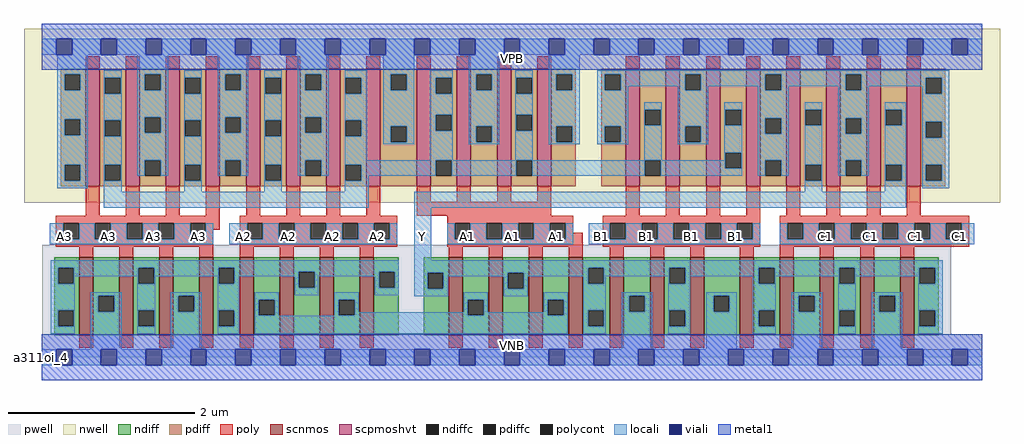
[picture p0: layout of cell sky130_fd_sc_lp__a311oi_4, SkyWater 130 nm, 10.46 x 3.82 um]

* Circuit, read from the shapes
.subckt sky130_fd_sc_lp__a311oi_4 A1 A2 A3 B1 C1 VGND VNB VPB VPWR Y
XM1 VGND A3 n1 VNB sky130_fd_pr__nfet_01v8 w=0.84 l=0.15 m=4
XM2 n2 A2 n1 VNB sky130_fd_pr__nfet_01v8 w=0.84 l=0.15 m=4
XM3 n2 A1 Y VNB sky130_fd_pr__nfet_01v8 w=0.84 l=0.15 m=4
XM4 VGND B1 Y VNB sky130_fd_pr__nfet_01v8 w=0.84 l=0.15 m=4
XM5 VGND C1 Y VNB sky130_fd_pr__nfet_01v8 w=0.84 l=0.15 m=4
XM6 n3 A3 VPWR VPB sky130_fd_pr__pfet_01v8_hvt w=1.26 l=0.15 m=4
XM7 n3 A2 VPWR VPB sky130_fd_pr__pfet_01v8_hvt w=1.26 l=0.15 m=4
XM8 n3 A1 VPWR VPB sky130_fd_pr__pfet_01v8_hvt w=1.26 l=0.15 m=4
XM9 n3 B1 n4 VPB sky130_fd_pr__pfet_01v8_hvt w=1.26 l=0.15 m=4
XM10 Y C1 n4 VPB sky130_fd_pr__pfet_01v8_hvt w=1.26 l=0.15 m=4
.ends

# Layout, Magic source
magic
tech sky130A
magscale 1 2
<< nwell >>
rect -38 331 2054 704
<< pwell >>
rect 1 49 1949 241
rect 0 0 2016 49
<< scnmos >>
rect 80 47 110 215
rect 166 47 196 215
rect 252 47 282 215
rect 338 47 368 215
rect 424 47 454 215
rect 510 47 540 215
rect 596 47 626 215
rect 682 47 712 215
rect 872 47 902 215
rect 958 47 988 215
rect 1044 47 1074 215
rect 1130 47 1160 215
rect 1218 47 1248 215
rect 1304 47 1334 215
rect 1390 47 1420 215
rect 1496 47 1526 215
rect 1582 47 1612 215
rect 1668 47 1698 215
rect 1754 47 1784 215
rect 1840 47 1870 215
<< scpmoshvt >>
rect 94 367 124 619
rect 180 367 210 619
rect 266 367 296 619
rect 352 367 382 619
rect 438 367 468 619
rect 524 367 554 619
rect 610 367 640 619
rect 696 367 726 619
rect 804 367 834 619
rect 890 367 920 619
rect 976 367 1006 619
rect 1062 367 1092 619
rect 1252 367 1282 619
rect 1338 367 1368 619
rect 1424 367 1454 619
rect 1510 367 1540 619
rect 1596 367 1626 619
rect 1682 367 1712 619
rect 1768 367 1798 619
rect 1854 367 1884 619
<< ndiff >>
rect 27 192 80 215
rect 27 158 35 192
rect 69 158 80 192
rect 27 101 80 158
rect 27 67 35 101
rect 69 67 80 101
rect 27 47 80 67
rect 110 132 166 215
rect 110 98 121 132
rect 155 98 166 132
rect 110 47 166 98
rect 196 192 252 215
rect 196 158 207 192
rect 241 158 252 192
rect 196 101 252 158
rect 196 67 207 101
rect 241 67 252 101
rect 196 47 252 67
rect 282 132 338 215
rect 282 98 293 132
rect 327 98 338 132
rect 282 47 338 98
rect 368 192 424 215
rect 368 158 379 192
rect 413 158 424 192
rect 368 101 424 158
rect 368 67 379 101
rect 413 67 424 101
rect 368 47 424 67
rect 454 124 510 215
rect 454 90 465 124
rect 499 90 510 124
rect 454 47 510 90
rect 540 183 596 215
rect 540 149 551 183
rect 585 149 596 183
rect 540 47 596 149
rect 626 124 682 215
rect 626 90 637 124
rect 671 90 682 124
rect 626 47 682 90
rect 712 183 765 215
rect 712 149 723 183
rect 757 149 765 183
rect 712 47 765 149
rect 819 181 872 215
rect 819 147 827 181
rect 861 147 872 181
rect 819 47 872 147
rect 902 124 958 215
rect 902 90 913 124
rect 947 90 958 124
rect 902 47 958 90
rect 988 181 1044 215
rect 988 147 999 181
rect 1033 147 1044 181
rect 988 47 1044 147
rect 1074 124 1130 215
rect 1074 90 1085 124
rect 1119 90 1130 124
rect 1074 47 1130 90
rect 1160 192 1218 215
rect 1160 158 1171 192
rect 1205 158 1218 192
rect 1160 101 1218 158
rect 1160 67 1171 101
rect 1205 67 1218 101
rect 1160 47 1218 67
rect 1248 132 1304 215
rect 1248 98 1259 132
rect 1293 98 1304 132
rect 1248 47 1304 98
rect 1334 192 1390 215
rect 1334 158 1345 192
rect 1379 158 1390 192
rect 1334 101 1390 158
rect 1334 67 1345 101
rect 1379 67 1390 101
rect 1334 47 1390 67
rect 1420 132 1496 215
rect 1420 98 1440 132
rect 1474 98 1496 132
rect 1420 47 1496 98
rect 1526 192 1582 215
rect 1526 158 1537 192
rect 1571 158 1582 192
rect 1526 101 1582 158
rect 1526 67 1537 101
rect 1571 67 1582 101
rect 1526 47 1582 67
rect 1612 132 1668 215
rect 1612 98 1623 132
rect 1657 98 1668 132
rect 1612 47 1668 98
rect 1698 192 1754 215
rect 1698 158 1709 192
rect 1743 158 1754 192
rect 1698 101 1754 158
rect 1698 67 1709 101
rect 1743 67 1754 101
rect 1698 47 1754 67
rect 1784 132 1840 215
rect 1784 98 1795 132
rect 1829 98 1840 132
rect 1784 47 1840 98
rect 1870 192 1923 215
rect 1870 158 1881 192
rect 1915 158 1923 192
rect 1870 101 1923 158
rect 1870 67 1881 101
rect 1915 67 1923 101
rect 1870 47 1923 67
<< pdiff >>
rect 41 607 94 619
rect 41 573 49 607
rect 83 573 94 607
rect 41 510 94 573
rect 41 476 49 510
rect 83 476 94 510
rect 41 413 94 476
rect 41 379 49 413
rect 83 379 94 413
rect 41 367 94 379
rect 124 599 180 619
rect 124 565 135 599
rect 169 565 180 599
rect 124 508 180 565
rect 124 474 135 508
rect 169 474 180 508
rect 124 413 180 474
rect 124 379 135 413
rect 169 379 180 413
rect 124 367 180 379
rect 210 607 266 619
rect 210 573 221 607
rect 255 573 266 607
rect 210 515 266 573
rect 210 481 221 515
rect 255 481 266 515
rect 210 423 266 481
rect 210 389 221 423
rect 255 389 266 423
rect 210 367 266 389
rect 296 599 352 619
rect 296 565 307 599
rect 341 565 352 599
rect 296 508 352 565
rect 296 474 307 508
rect 341 474 352 508
rect 296 413 352 474
rect 296 379 307 413
rect 341 379 352 413
rect 296 367 352 379
rect 382 607 438 619
rect 382 573 393 607
rect 427 573 438 607
rect 382 515 438 573
rect 382 481 393 515
rect 427 481 438 515
rect 382 423 438 481
rect 382 389 393 423
rect 427 389 438 423
rect 382 367 438 389
rect 468 599 524 619
rect 468 565 479 599
rect 513 565 524 599
rect 468 508 524 565
rect 468 474 479 508
rect 513 474 524 508
rect 468 413 524 474
rect 468 379 479 413
rect 513 379 524 413
rect 468 367 524 379
rect 554 607 610 619
rect 554 573 565 607
rect 599 573 610 607
rect 554 515 610 573
rect 554 481 565 515
rect 599 481 610 515
rect 554 423 610 481
rect 554 389 565 423
rect 599 389 610 423
rect 554 367 610 389
rect 640 599 696 619
rect 640 565 651 599
rect 685 565 696 599
rect 640 508 696 565
rect 640 474 651 508
rect 685 474 696 508
rect 640 413 696 474
rect 640 379 651 413
rect 685 379 696 413
rect 640 367 696 379
rect 726 607 804 619
rect 726 573 748 607
rect 782 573 804 607
rect 726 495 804 573
rect 726 461 748 495
rect 782 461 804 495
rect 726 367 804 461
rect 834 599 890 619
rect 834 565 845 599
rect 879 565 890 599
rect 834 520 890 565
rect 834 486 845 520
rect 879 486 890 520
rect 834 423 890 486
rect 834 389 845 423
rect 879 389 890 423
rect 834 367 890 389
rect 920 607 976 619
rect 920 573 931 607
rect 965 573 976 607
rect 920 495 976 573
rect 920 461 931 495
rect 965 461 976 495
rect 920 367 976 461
rect 1006 599 1062 619
rect 1006 565 1017 599
rect 1051 565 1062 599
rect 1006 520 1062 565
rect 1006 486 1017 520
rect 1051 486 1062 520
rect 1006 423 1062 486
rect 1006 389 1017 423
rect 1051 389 1062 423
rect 1006 367 1062 389
rect 1092 607 1145 619
rect 1092 573 1103 607
rect 1137 573 1145 607
rect 1092 495 1145 573
rect 1092 461 1103 495
rect 1137 461 1145 495
rect 1092 367 1145 461
rect 1199 607 1252 619
rect 1199 573 1207 607
rect 1241 573 1252 607
rect 1199 495 1252 573
rect 1199 461 1207 495
rect 1241 461 1252 495
rect 1199 367 1252 461
rect 1282 531 1338 619
rect 1282 497 1293 531
rect 1327 497 1338 531
rect 1282 423 1338 497
rect 1282 389 1293 423
rect 1327 389 1338 423
rect 1282 367 1338 389
rect 1368 607 1424 619
rect 1368 573 1379 607
rect 1413 573 1424 607
rect 1368 495 1424 573
rect 1368 461 1379 495
rect 1413 461 1424 495
rect 1368 367 1424 461
rect 1454 531 1510 619
rect 1454 497 1465 531
rect 1499 497 1510 531
rect 1454 439 1510 497
rect 1454 405 1465 439
rect 1499 405 1510 439
rect 1454 367 1510 405
rect 1540 607 1596 619
rect 1540 573 1551 607
rect 1585 573 1596 607
rect 1540 513 1596 573
rect 1540 479 1551 513
rect 1585 479 1596 513
rect 1540 423 1596 479
rect 1540 389 1551 423
rect 1585 389 1596 423
rect 1540 367 1596 389
rect 1626 531 1682 619
rect 1626 497 1637 531
rect 1671 497 1682 531
rect 1626 413 1682 497
rect 1626 379 1637 413
rect 1671 379 1682 413
rect 1626 367 1682 379
rect 1712 607 1768 619
rect 1712 573 1723 607
rect 1757 573 1768 607
rect 1712 513 1768 573
rect 1712 479 1723 513
rect 1757 479 1768 513
rect 1712 423 1768 479
rect 1712 389 1723 423
rect 1757 389 1768 423
rect 1712 367 1768 389
rect 1798 531 1854 619
rect 1798 497 1809 531
rect 1843 497 1854 531
rect 1798 413 1854 497
rect 1798 379 1809 413
rect 1843 379 1854 413
rect 1798 367 1854 379
rect 1884 599 1937 619
rect 1884 565 1895 599
rect 1929 565 1937 599
rect 1884 505 1937 565
rect 1884 471 1895 505
rect 1929 471 1937 505
rect 1884 413 1937 471
rect 1884 379 1895 413
rect 1929 379 1937 413
rect 1884 367 1937 379
<< ndiffc >>
rect 35 158 69 192
rect 35 67 69 101
rect 121 98 155 132
rect 207 158 241 192
rect 207 67 241 101
rect 293 98 327 132
rect 379 158 413 192
rect 379 67 413 101
rect 465 90 499 124
rect 551 149 585 183
rect 637 90 671 124
rect 723 149 757 183
rect 827 147 861 181
rect 913 90 947 124
rect 999 147 1033 181
rect 1085 90 1119 124
rect 1171 158 1205 192
rect 1171 67 1205 101
rect 1259 98 1293 132
rect 1345 158 1379 192
rect 1345 67 1379 101
rect 1440 98 1474 132
rect 1537 158 1571 192
rect 1537 67 1571 101
rect 1623 98 1657 132
rect 1709 158 1743 192
rect 1709 67 1743 101
rect 1795 98 1829 132
rect 1881 158 1915 192
rect 1881 67 1915 101
<< pdiffc >>
rect 49 573 83 607
rect 49 476 83 510
rect 49 379 83 413
rect 135 565 169 599
rect 135 474 169 508
rect 135 379 169 413
rect 221 573 255 607
rect 221 481 255 515
rect 221 389 255 423
rect 307 565 341 599
rect 307 474 341 508
rect 307 379 341 413
rect 393 573 427 607
rect 393 481 427 515
rect 393 389 427 423
rect 479 565 513 599
rect 479 474 513 508
rect 479 379 513 413
rect 565 573 599 607
rect 565 481 599 515
rect 565 389 599 423
rect 651 565 685 599
rect 651 474 685 508
rect 651 379 685 413
rect 748 573 782 607
rect 748 461 782 495
rect 845 565 879 599
rect 845 486 879 520
rect 845 389 879 423
rect 931 573 965 607
rect 931 461 965 495
rect 1017 565 1051 599
rect 1017 486 1051 520
rect 1017 389 1051 423
rect 1103 573 1137 607
rect 1103 461 1137 495
rect 1207 573 1241 607
rect 1207 461 1241 495
rect 1293 497 1327 531
rect 1293 389 1327 423
rect 1379 573 1413 607
rect 1379 461 1413 495
rect 1465 497 1499 531
rect 1465 405 1499 439
rect 1551 573 1585 607
rect 1551 479 1585 513
rect 1551 389 1585 423
rect 1637 497 1671 531
rect 1637 379 1671 413
rect 1723 573 1757 607
rect 1723 479 1757 513
rect 1723 389 1757 423
rect 1809 497 1843 531
rect 1809 379 1843 413
rect 1895 565 1929 599
rect 1895 471 1929 505
rect 1895 379 1929 413
<< poly >>
rect 94 619 124 645
rect 180 619 210 645
rect 266 619 296 645
rect 352 619 382 645
rect 438 619 468 645
rect 524 619 554 645
rect 610 619 640 645
rect 696 619 726 645
rect 804 619 834 645
rect 890 619 920 645
rect 976 619 1006 645
rect 1062 619 1092 645
rect 1252 619 1282 645
rect 1338 619 1368 645
rect 1424 619 1454 645
rect 1510 619 1540 645
rect 1596 619 1626 645
rect 1682 619 1712 645
rect 1768 619 1798 645
rect 1854 619 1884 645
rect 94 303 124 367
rect 180 303 210 367
rect 266 303 296 367
rect 352 303 382 367
rect 438 303 468 367
rect 524 303 554 367
rect 610 303 640 367
rect 696 303 726 367
rect 804 333 834 367
rect 890 333 920 367
rect 976 333 1006 367
rect 1062 333 1092 367
rect 804 303 1092 333
rect 1252 303 1282 367
rect 1338 303 1368 367
rect 1424 303 1454 367
rect 1510 303 1540 367
rect 1596 303 1626 367
rect 1682 303 1712 367
rect 1768 303 1798 367
rect 1854 303 1884 367
rect 30 287 382 303
rect 30 253 46 287
rect 80 253 114 287
rect 148 253 182 287
rect 216 253 250 287
rect 284 253 318 287
rect 352 273 382 287
rect 424 287 762 303
rect 352 253 368 273
rect 30 237 368 253
rect 80 215 110 237
rect 166 215 196 237
rect 252 215 282 237
rect 338 215 368 237
rect 424 253 440 287
rect 474 253 508 287
rect 542 253 576 287
rect 610 253 644 287
rect 678 253 712 287
rect 746 253 762 287
rect 424 237 762 253
rect 869 287 1139 303
rect 869 253 885 287
rect 919 253 953 287
rect 987 253 1021 287
rect 1055 253 1089 287
rect 1123 267 1139 287
rect 1202 287 1540 303
rect 1123 253 1160 267
rect 869 237 1160 253
rect 1202 253 1218 287
rect 1252 253 1286 287
rect 1320 253 1354 287
rect 1388 253 1422 287
rect 1456 253 1490 287
rect 1524 253 1540 287
rect 1202 237 1540 253
rect 1582 287 1988 303
rect 1582 253 1598 287
rect 1632 253 1666 287
rect 1700 253 1734 287
rect 1768 253 1802 287
rect 1836 253 1870 287
rect 1904 253 1938 287
rect 1972 253 1988 287
rect 1582 237 1988 253
rect 424 215 454 237
rect 510 215 540 237
rect 596 215 626 237
rect 682 215 712 237
rect 872 215 902 237
rect 958 215 988 237
rect 1044 215 1074 237
rect 1130 215 1160 237
rect 1218 215 1248 237
rect 1304 215 1334 237
rect 1390 215 1420 237
rect 1496 215 1526 237
rect 1582 215 1612 237
rect 1668 215 1698 237
rect 1754 215 1784 237
rect 1840 215 1870 237
rect 80 21 110 47
rect 166 21 196 47
rect 252 21 282 47
rect 338 21 368 47
rect 424 21 454 47
rect 510 21 540 47
rect 596 21 626 47
rect 682 21 712 47
rect 872 21 902 47
rect 958 21 988 47
rect 1044 21 1074 47
rect 1130 21 1160 47
rect 1218 21 1248 47
rect 1304 21 1334 47
rect 1390 21 1420 47
rect 1496 21 1526 47
rect 1582 21 1612 47
rect 1668 21 1698 47
rect 1754 21 1784 47
rect 1840 21 1870 47
<< polycont >>
rect 46 253 80 287
rect 114 253 148 287
rect 182 253 216 287
rect 250 253 284 287
rect 318 253 352 287
rect 440 253 474 287
rect 508 253 542 287
rect 576 253 610 287
rect 644 253 678 287
rect 712 253 746 287
rect 885 253 919 287
rect 953 253 987 287
rect 1021 253 1055 287
rect 1089 253 1123 287
rect 1218 253 1252 287
rect 1286 253 1320 287
rect 1354 253 1388 287
rect 1422 253 1456 287
rect 1490 253 1524 287
rect 1598 253 1632 287
rect 1666 253 1700 287
rect 1734 253 1768 287
rect 1802 253 1836 287
rect 1870 253 1904 287
rect 1938 253 1972 287
<< locali >>
rect 0 649 31 683
rect 65 649 127 683
rect 161 649 223 683
rect 257 649 319 683
rect 353 649 415 683
rect 449 649 511 683
rect 545 649 607 683
rect 641 649 703 683
rect 737 649 799 683
rect 833 649 895 683
rect 929 649 991 683
rect 1025 649 1087 683
rect 1121 649 1183 683
rect 1217 649 1279 683
rect 1313 649 1375 683
rect 1409 649 1471 683
rect 1505 649 1567 683
rect 1601 649 1663 683
rect 1697 649 1759 683
rect 1793 649 1855 683
rect 1889 649 1951 683
rect 1985 649 2016 683
rect 33 607 99 649
rect 33 573 49 607
rect 83 573 99 607
rect 33 510 99 573
rect 33 476 49 510
rect 83 476 99 510
rect 33 413 99 476
rect 33 379 49 413
rect 83 379 99 413
rect 33 363 99 379
rect 133 599 171 615
rect 133 565 135 599
rect 169 565 171 599
rect 133 508 171 565
rect 133 474 135 508
rect 169 474 171 508
rect 133 413 171 474
rect 133 379 135 413
rect 169 379 171 413
rect 205 607 271 649
rect 205 573 221 607
rect 255 573 271 607
rect 205 515 271 573
rect 205 481 221 515
rect 255 481 271 515
rect 205 423 271 481
rect 205 389 221 423
rect 255 389 271 423
rect 305 599 343 615
rect 305 565 307 599
rect 341 565 343 599
rect 305 508 343 565
rect 305 474 307 508
rect 341 474 343 508
rect 305 413 343 474
rect 133 355 171 379
rect 305 379 307 413
rect 341 379 343 413
rect 377 607 443 649
rect 377 573 393 607
rect 427 573 443 607
rect 377 515 443 573
rect 377 481 393 515
rect 427 481 443 515
rect 377 423 443 481
rect 377 389 393 423
rect 427 389 443 423
rect 477 599 515 615
rect 477 565 479 599
rect 513 565 515 599
rect 477 508 515 565
rect 477 474 479 508
rect 513 474 515 508
rect 477 413 515 474
rect 305 355 343 379
rect 477 379 479 413
rect 513 379 515 413
rect 549 607 615 649
rect 549 573 565 607
rect 599 573 615 607
rect 549 515 615 573
rect 549 481 565 515
rect 599 481 615 515
rect 549 423 615 481
rect 549 389 565 423
rect 599 389 615 423
rect 649 599 698 615
rect 649 565 651 599
rect 685 565 698 599
rect 649 508 698 565
rect 649 474 651 508
rect 685 474 698 508
rect 649 423 698 474
rect 732 607 798 649
rect 732 573 748 607
rect 782 573 798 607
rect 732 495 798 573
rect 732 461 748 495
rect 782 461 798 495
rect 732 457 798 461
rect 832 599 881 615
rect 832 565 845 599
rect 879 565 881 599
rect 832 520 881 565
rect 832 486 845 520
rect 879 486 881 520
rect 832 423 881 486
rect 915 607 981 649
rect 915 573 931 607
rect 965 573 981 607
rect 915 495 981 573
rect 915 461 931 495
rect 965 461 981 495
rect 915 457 981 461
rect 1015 599 1053 615
rect 1015 565 1017 599
rect 1051 565 1053 599
rect 1015 520 1053 565
rect 1015 486 1017 520
rect 1051 486 1053 520
rect 1015 423 1053 486
rect 1087 607 1153 649
rect 1087 573 1103 607
rect 1137 573 1153 607
rect 1087 495 1153 573
rect 1087 461 1103 495
rect 1137 461 1153 495
rect 1087 457 1153 461
rect 1191 607 1945 615
rect 1191 573 1207 607
rect 1241 581 1379 607
rect 1241 573 1257 581
rect 1191 495 1257 573
rect 1363 573 1379 581
rect 1413 581 1551 607
rect 1413 573 1429 581
rect 1191 461 1207 495
rect 1241 461 1257 495
rect 1191 457 1257 461
rect 1291 531 1329 547
rect 1291 497 1293 531
rect 1327 497 1329 531
rect 1291 423 1329 497
rect 1363 495 1429 573
rect 1535 573 1551 581
rect 1585 581 1723 607
rect 1585 573 1601 581
rect 1363 461 1379 495
rect 1413 461 1429 495
rect 1363 457 1429 461
rect 1463 531 1501 547
rect 1463 497 1465 531
rect 1499 497 1501 531
rect 1463 439 1501 497
rect 1463 423 1465 439
rect 649 413 845 423
rect 477 355 515 379
rect 649 379 651 413
rect 685 389 845 413
rect 879 389 1017 423
rect 1051 389 1293 423
rect 1327 405 1465 423
rect 1499 405 1501 439
rect 1327 389 1501 405
rect 1535 513 1601 573
rect 1707 573 1723 581
rect 1757 599 1945 607
rect 1757 581 1895 599
rect 1757 573 1773 581
rect 1535 479 1551 513
rect 1585 479 1601 513
rect 1535 423 1601 479
rect 1535 389 1551 423
rect 1585 389 1601 423
rect 1635 531 1673 547
rect 1635 497 1637 531
rect 1671 497 1673 531
rect 1635 413 1673 497
rect 685 379 701 389
rect 649 355 701 379
rect 1635 379 1637 413
rect 1671 379 1673 413
rect 1707 513 1773 573
rect 1887 565 1895 581
rect 1929 565 1945 599
rect 1707 479 1723 513
rect 1757 479 1773 513
rect 1707 423 1773 479
rect 1707 389 1723 423
rect 1757 389 1773 423
rect 1807 531 1853 547
rect 1807 497 1809 531
rect 1843 497 1853 531
rect 1807 413 1853 497
rect 1635 355 1673 379
rect 1807 379 1809 413
rect 1843 379 1853 413
rect 1807 355 1853 379
rect 1887 505 1945 565
rect 1887 471 1895 505
rect 1929 471 1945 505
rect 1887 413 1945 471
rect 1887 379 1895 413
rect 1929 379 1945 413
rect 1887 363 1945 379
rect 133 321 701 355
rect 799 321 1853 355
rect 17 253 46 287
rect 80 253 114 287
rect 148 253 182 287
rect 216 253 250 287
rect 284 253 318 287
rect 352 253 368 287
rect 17 242 368 253
rect 402 253 440 287
rect 474 253 508 287
rect 542 253 576 287
rect 610 253 644 287
rect 678 253 712 287
rect 746 253 762 287
rect 402 242 762 253
rect 799 208 835 321
rect 869 253 885 287
rect 919 253 953 287
rect 987 253 1021 287
rect 1055 253 1089 287
rect 1123 253 1139 287
rect 869 242 1139 253
rect 1173 253 1218 287
rect 1252 253 1286 287
rect 1320 253 1354 287
rect 1388 253 1422 287
rect 1456 253 1490 287
rect 1524 253 1540 287
rect 1173 242 1540 253
rect 1582 253 1598 287
rect 1632 253 1666 287
rect 1700 253 1734 287
rect 1768 253 1802 287
rect 1836 253 1870 287
rect 1904 253 1938 287
rect 1972 253 1999 287
rect 1582 242 1999 253
rect 19 192 765 208
rect 19 158 35 192
rect 69 174 207 192
rect 69 158 71 174
rect 19 101 71 158
rect 205 158 207 174
rect 241 174 379 192
rect 241 158 243 174
rect 19 67 35 101
rect 69 67 71 101
rect 19 51 71 67
rect 105 132 171 140
rect 105 98 121 132
rect 155 98 171 132
rect 105 17 171 98
rect 205 101 243 158
rect 377 158 379 174
rect 413 183 765 192
rect 413 174 551 183
rect 413 158 423 174
rect 205 67 207 101
rect 241 67 243 101
rect 205 51 243 67
rect 277 132 343 140
rect 277 98 293 132
rect 327 98 343 132
rect 277 17 343 98
rect 377 101 423 158
rect 542 149 551 174
rect 585 174 723 183
rect 585 149 593 174
rect 377 67 379 101
rect 413 67 423 101
rect 377 51 423 67
rect 457 124 508 140
rect 542 133 593 149
rect 714 149 723 174
rect 757 149 765 183
rect 457 90 465 124
rect 499 90 508 124
rect 457 89 508 90
rect 627 124 680 140
rect 714 133 765 149
rect 799 192 1931 208
rect 799 181 1171 192
rect 799 147 827 181
rect 861 174 999 181
rect 861 147 871 174
rect 799 131 871 147
rect 990 147 999 174
rect 1033 174 1171 181
rect 1033 147 1042 174
rect 627 90 637 124
rect 671 97 680 124
rect 905 124 956 140
rect 990 131 1042 147
rect 1161 158 1171 174
rect 1205 174 1345 192
rect 1205 158 1209 174
rect 905 97 913 124
rect 671 90 913 97
rect 947 97 956 124
rect 1076 124 1127 140
rect 1076 97 1085 124
rect 947 90 1085 97
rect 1119 90 1127 124
rect 627 89 1127 90
rect 457 51 1127 89
rect 1161 101 1209 158
rect 1343 158 1345 174
rect 1379 174 1537 192
rect 1379 158 1390 174
rect 1161 67 1171 101
rect 1205 67 1209 101
rect 1161 51 1209 67
rect 1243 132 1309 140
rect 1243 98 1259 132
rect 1293 98 1309 132
rect 1243 17 1309 98
rect 1343 101 1390 158
rect 1524 158 1537 174
rect 1571 174 1709 192
rect 1571 158 1573 174
rect 1343 67 1345 101
rect 1379 67 1390 101
rect 1343 51 1390 67
rect 1424 132 1490 140
rect 1424 98 1440 132
rect 1474 98 1490 132
rect 1424 17 1490 98
rect 1524 101 1573 158
rect 1707 158 1709 174
rect 1743 174 1881 192
rect 1743 158 1745 174
rect 1524 67 1537 101
rect 1571 67 1573 101
rect 1524 51 1573 67
rect 1607 132 1673 140
rect 1607 98 1623 132
rect 1657 98 1673 132
rect 1607 17 1673 98
rect 1707 101 1745 158
rect 1879 158 1881 174
rect 1915 158 1931 192
rect 1707 67 1709 101
rect 1743 67 1745 101
rect 1707 51 1745 67
rect 1779 132 1845 140
rect 1779 98 1795 132
rect 1829 98 1845 132
rect 1779 17 1845 98
rect 1879 101 1931 158
rect 1879 67 1881 101
rect 1915 67 1931 101
rect 1879 51 1931 67
rect 0 -17 31 17
rect 65 -17 127 17
rect 161 -17 223 17
rect 257 -17 319 17
rect 353 -17 415 17
rect 449 -17 511 17
rect 545 -17 607 17
rect 641 -17 703 17
rect 737 -17 799 17
rect 833 -17 895 17
rect 929 -17 991 17
rect 1025 -17 1087 17
rect 1121 -17 1183 17
rect 1217 -17 1279 17
rect 1313 -17 1375 17
rect 1409 -17 1471 17
rect 1505 -17 1567 17
rect 1601 -17 1663 17
rect 1697 -17 1759 17
rect 1793 -17 1855 17
rect 1889 -17 1951 17
rect 1985 -17 2016 17
<< viali >>
rect 31 649 65 683
rect 127 649 161 683
rect 223 649 257 683
rect 319 649 353 683
rect 415 649 449 683
rect 511 649 545 683
rect 607 649 641 683
rect 703 649 737 683
rect 799 649 833 683
rect 895 649 929 683
rect 991 649 1025 683
rect 1087 649 1121 683
rect 1183 649 1217 683
rect 1279 649 1313 683
rect 1375 649 1409 683
rect 1471 649 1505 683
rect 1567 649 1601 683
rect 1663 649 1697 683
rect 1759 649 1793 683
rect 1855 649 1889 683
rect 1951 649 1985 683
rect 31 -17 65 17
rect 127 -17 161 17
rect 223 -17 257 17
rect 319 -17 353 17
rect 415 -17 449 17
rect 511 -17 545 17
rect 607 -17 641 17
rect 703 -17 737 17
rect 799 -17 833 17
rect 895 -17 929 17
rect 991 -17 1025 17
rect 1087 -17 1121 17
rect 1183 -17 1217 17
rect 1279 -17 1313 17
rect 1375 -17 1409 17
rect 1471 -17 1505 17
rect 1567 -17 1601 17
rect 1663 -17 1697 17
rect 1759 -17 1793 17
rect 1855 -17 1889 17
rect 1951 -17 1985 17
<< metal1 >>
rect 0 683 2016 715
rect 0 649 31 683
rect 65 649 127 683
rect 161 649 223 683
rect 257 649 319 683
rect 353 649 415 683
rect 449 649 511 683
rect 545 649 607 683
rect 641 649 703 683
rect 737 649 799 683
rect 833 649 895 683
rect 929 649 991 683
rect 1025 649 1087 683
rect 1121 649 1183 683
rect 1217 649 1279 683
rect 1313 649 1375 683
rect 1409 649 1471 683
rect 1505 649 1567 683
rect 1601 649 1663 683
rect 1697 649 1759 683
rect 1793 649 1855 683
rect 1889 649 1951 683
rect 1985 649 2016 683
rect 0 617 2016 649
rect 0 17 2016 49
rect 0 -17 31 17
rect 65 -17 127 17
rect 161 -17 223 17
rect 257 -17 319 17
rect 353 -17 415 17
rect 449 -17 511 17
rect 545 -17 607 17
rect 641 -17 703 17
rect 737 -17 799 17
rect 833 -17 895 17
rect 929 -17 991 17
rect 1025 -17 1087 17
rect 1121 -17 1183 17
rect 1217 -17 1279 17
rect 1313 -17 1375 17
rect 1409 -17 1471 17
rect 1505 -17 1567 17
rect 1601 -17 1663 17
rect 1697 -17 1759 17
rect 1793 -17 1855 17
rect 1889 -17 1951 17
rect 1985 -17 2016 17
rect 0 -49 2016 -17
<< labels >>
flabel pwell s 0 0 2016 49 0 FreeSans 200 0 0 0 VNB
port 7 nsew ground bidirectional
flabel nwell s 0 617 2016 666 0 FreeSans 200 0 0 0 VPB
port 8 nsew power bidirectional
rlabel comment s 0 0 0 0 4 a311oi_4
flabel metal1 s 0 617 2016 666 0 FreeSans 340 0 0 0 VPWR
port 9 nsew power bidirectional
flabel metal1 s 0 0 2016 49 0 FreeSans 340 0 0 0 VGND
port 6 nsew ground bidirectional
flabel locali s 895 242 929 276 0 FreeSans 340 0 0 0 A1
port 1 nsew signal input
flabel locali s 991 242 1025 276 0 FreeSans 340 0 0 0 A1
port 1 nsew signal input
flabel locali s 1087 242 1121 276 0 FreeSans 340 0 0 0 A1
port 1 nsew signal input
flabel locali s 415 242 449 276 0 FreeSans 340 0 0 0 A2
port 2 nsew signal input
flabel locali s 511 242 545 276 0 FreeSans 340 0 0 0 A2
port 2 nsew signal input
flabel locali s 607 242 641 276 0 FreeSans 340 0 0 0 A2
port 2 nsew signal input
flabel locali s 703 242 737 276 0 FreeSans 340 0 0 0 A2
port 2 nsew signal input
flabel locali s 31 242 65 276 0 FreeSans 340 0 0 0 A3
port 3 nsew signal input
flabel locali s 127 242 161 276 0 FreeSans 340 0 0 0 A3
port 3 nsew signal input
flabel locali s 223 242 257 276 0 FreeSans 340 0 0 0 A3
port 3 nsew signal input
flabel locali s 319 242 353 276 0 FreeSans 340 0 0 0 A3
port 3 nsew signal input
flabel locali s 1183 242 1217 276 0 FreeSans 340 0 0 0 B1
port 4 nsew signal input
flabel locali s 1279 242 1313 276 0 FreeSans 340 0 0 0 B1
port 4 nsew signal input
flabel locali s 1375 242 1409 276 0 FreeSans 340 0 0 0 B1
port 4 nsew signal input
flabel locali s 1471 242 1505 276 0 FreeSans 340 0 0 0 B1
port 4 nsew signal input
flabel locali s 1663 242 1697 276 0 FreeSans 340 0 0 0 C1
port 5 nsew signal input
flabel locali s 1759 242 1793 276 0 FreeSans 340 0 0 0 C1
port 5 nsew signal input
flabel locali s 1855 242 1889 276 0 FreeSans 340 0 0 0 C1
port 5 nsew signal input
flabel locali s 1951 242 1985 276 0 FreeSans 340 0 0 0 C1
port 5 nsew signal input
flabel locali s 799 242 833 276 0 FreeSans 340 0 0 0 Y
port 10 nsew signal output
<< properties >>
string LEFsite unit
string LEFclass CORE
string FIXED_BBOX 0 0 2016 666
string GDS_FILE $PDKPATH/libs.ref/sky130_fd_sc_lp/gds/sky130_fd_sc_lp.gds
string LEFsymmetry X Y R90
string GDS_END 3261568
string GDS_START 3244138
<< end >>
